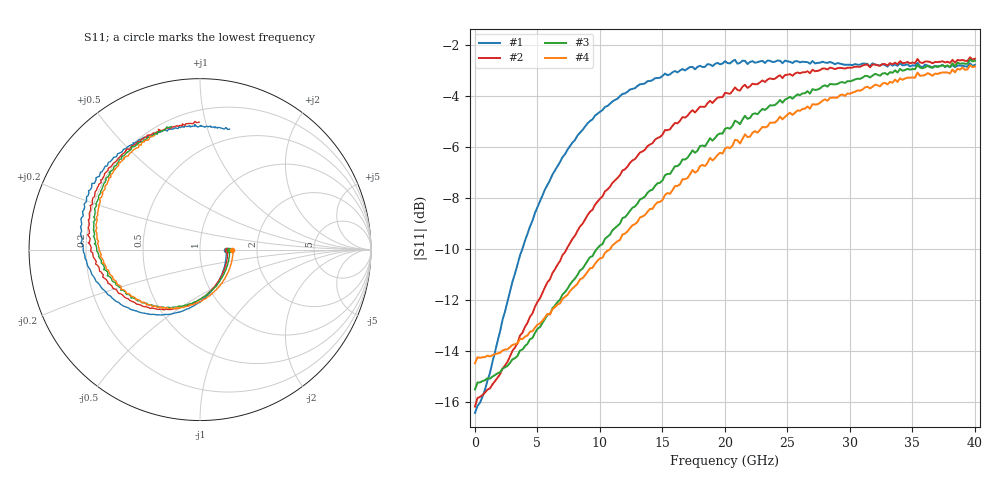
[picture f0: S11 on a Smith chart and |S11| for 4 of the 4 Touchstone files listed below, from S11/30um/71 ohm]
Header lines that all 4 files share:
!Agilent Technologies,N5227A,US51270434,A.10.00.00
!Agilent N5227A: A.10.00.00
!Correction: S11(Full 1 Port(1))
!S1P File: Measurement: S11:
# Hz S  dB  R 50
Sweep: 10 MHz to 40 GHz
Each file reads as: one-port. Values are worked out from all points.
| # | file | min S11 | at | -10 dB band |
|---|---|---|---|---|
| 1 | 0V.s1p | -16.4 dB | 10 MHz | over 3.79 GHz wide |
| 2 | -3V.s1p | -16.2 dB | 10 MHz | over 7.332 GHz wide |
| 3 | -5V.s1p | -15.5 dB | 10 MHz | over 9.746 GHz wide |
| 4 | -7V.s1p | -14.5 dB | 10 MHz | over 10.81 GHz wide |
